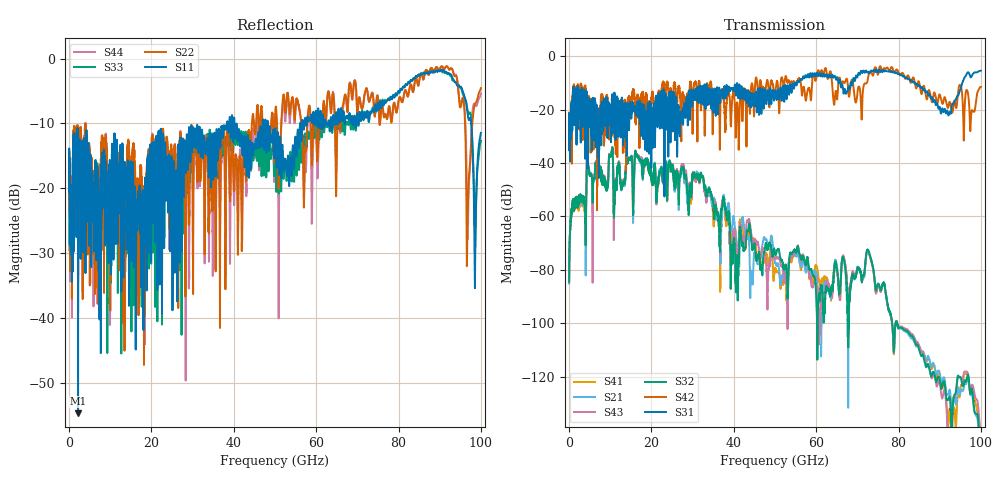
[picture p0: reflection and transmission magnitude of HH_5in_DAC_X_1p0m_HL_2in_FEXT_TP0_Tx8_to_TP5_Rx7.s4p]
# GHz S RI R 45
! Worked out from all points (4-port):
!   4000 points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, 25 MHz to 100 GHz, reference 45 ohm
!   strongest paths, dB at 25 MHz, 25.02 GHz, 50.02 GHz, 75.03 GHz, 100 GHz:
!     S31: -22.2, -15.3, -12.9, -5.7, -5.4
!     S42: -22.0, -22.6, -14.7, -7.0, -11.5
!     S32: -84.5, -41.9, -73.7, -85.2, -154.6
!     S43: -84.3, -41.7, -75.9, -85.9, -143.4
!     S21: -85.1, -42.2, -77.1, -85.1, -151.0
!     S41: -85.0, -42.2, -79.6, -85.8, -156.0
!   lowest |S11| = -54.7 dB at 2.2 GHz (marker M1), VSWR 1.00, Z = 44.9 - j0.0959 ohm
!   |S11| at or under -10 dB: start of sweep to 38.36 GHz; 40.2 GHz to 46.98 GHz (6.777 GHz wide, 15.5 % of centre); 48.27 GHz to 56.1 GHz (7.833 GHz wide, 15 % of centre) (the widest 3 of 27)
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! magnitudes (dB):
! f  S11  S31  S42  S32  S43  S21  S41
! 25 MHz  -14.8  -22.2  -22.0  -84.5  -84.3  -85.1  -85.0
! 2.2 GHz  -54.7  -26.7  -23.1  -54.4  -54.5  -55.1  -56.0
! 16.45 GHz  -21.7  -18.6  -18.4  -37.1  -36.8  -37.2  -36.8
! 32.3 GHz  -11.1  -11.2  -13.3  -45.2  -45.4  -45.4  -45.8
! 40.77 GHz  -10.8  -10.2  -17.6  -76.4  -73.4  -72.4  -71.8
! 96.9 GHz  -9.0  -6.0  -14.2  -119.4  -119.3  -120.1  -120.1
! 100 GHz  -11.4  -5.4  -11.5  -154.6  -143.4  -151.0  -156.0
